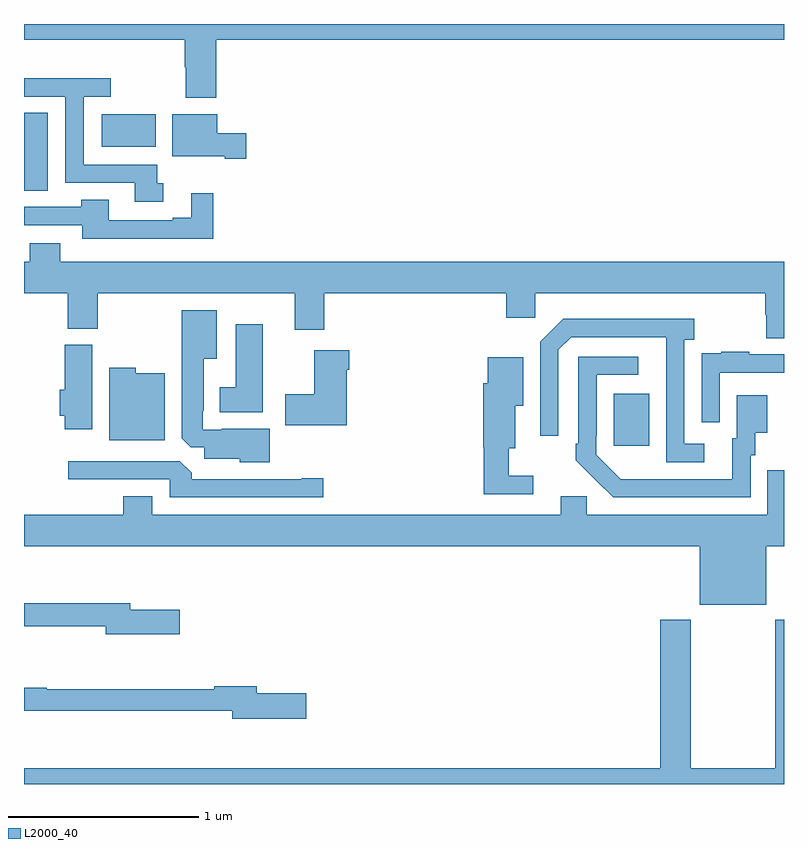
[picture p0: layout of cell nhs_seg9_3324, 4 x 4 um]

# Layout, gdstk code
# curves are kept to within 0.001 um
import gdstk
lib = gdstk.Library(unit=1e-6, precision=1e-09)
def R(c, l, rs):  # rectangles x0, y0, x1, y1
    for r in rs: c.add(gdstk.rectangle(r[:2], r[2:], *l))
def P(c, l, *ps):  # polygons
    for p in ps: c.add(gdstk.Polygon(p, *l))
L2000_40 = (2000, 40)

nhs_seg9_3324 = lib.new_cell('nhs_seg9_3324')
R(nhs_seg9_3324, L2000_40, [(304.103,1198.281,304.291,1198.555), (301,1199.623,301.126,1200.032), (301.409,1199.855,301.693,1200.025)])
P(nhs_seg9_3324, L2000_40, [(302.012,1200.416),(305,1200.416),(305,1200.5),(301,1200.5),(301,1200.416),(301.847,1200.416),(301.847,1200.272),(301.852,1200.272),(301.852,1200.111),(302.012,1200.111)],
  [(301.732,1199.663),(301.7,1199.663),(301.7,1199.76),(301.314,1199.76),(301.314,1200.117),(301.456,1200.117),(301.456,1200.215),(301,1200.215),(301,1200.117),(301.218,1200.117),(301.218,1199.664),(301.583,1199.664),(301.583,1199.565),(301.732,1199.565)],
  [(302.17,1199.926),(302.017,1199.926),(302.017,1200.025),(301.781,1200.025),(301.781,1199.804),(302.057,1199.804),(302.057,1199.792),(302.17,1199.792)],
  [(301.997,1199.608),(301.88,1199.608),(301.88,1199.479),(301.784,1199.479),(301.784,1199.466),(301.447,1199.466),(301.447,1199.575),(301.3,1199.575),(301.3,1199.538),(301,1199.538),(301,1199.442),(301.307,1199.442),(301.307,1199.37),(301.997,1199.37)],
  [(305,1199.248),(301.19,1199.248),(301.19,1199.347),(301.03,1199.347),(301.03,1199.248),(301,1199.248),(301,1199.084),(301.229,1199.084),(301.229,1198.897),(301.389,1198.897),(301.389,1199.084),(302.426,1199.084),(302.426,1198.89),(302.579,1198.89),(302.579,1199.084),(303.539,1199.084),(303.539,1198.953),(303.69,1198.953),(303.69,1199.084),(304.901,1199.084),(304.901,1198.971),(304.906,1198.971),(304.906,1198.846),(305,1198.846)],
  [(302.293,1198.369),(302.041,1198.369),(302.041,1198.365),(301.941,1198.365),(301.941,1198.465),(301.945,1198.465),(301.945,1198.739),(302.014,1198.739),(302.014,1198.993),(301.829,1198.993),(301.829,1198.321),(301.878,1198.272),(301.949,1198.272),(301.949,1198.211),(302.136,1198.211),(302.136,1198.193),(302.293,1198.193)],
  [(304.579,1198.29),(304.476,1198.29),(304.476,1198.838),(304.528,1198.838),(304.528,1198.948),(303.838,1198.948),(303.717,1198.827),(303.717,1198.332),(303.813,1198.332),(303.813,1198.785),(303.879,1198.851),(304.379,1198.851),(304.38,1198.194),(304.579,1198.194)],
  [(302.257,1198.921),(302.114,1198.921),(302.114,1198.588),(302.03,1198.588),(302.03,1198.457),(302.257,1198.457)],
  [(301.36,1198.812),(301.214,1198.812),(301.214,1198.574),(301.187,1198.574),(301.187,1198.439),(301.214,1198.439),(301.214,1198.368),(301.36,1198.368)],
  [(302.698,1198.679),(302.711,1198.679),(302.711,1198.783),(302.528,1198.783),(302.528,1198.551),(302.376,1198.551),(302.376,1198.388),(302.698,1198.388)],
  [(304.662,1198.665),(305,1198.665),(305,1198.761),(304.817,1198.761),(304.817,1198.774),(304.669,1198.774),(304.669,1198.767),(304.567,1198.767),(304.567,1198.658),(304.566,1198.658),(304.566,1198.404),(304.662,1198.404)],
  [(304.824,1198.23),(304.849,1198.23),(304.849,1198.349),(304.912,1198.349),(304.912,1198.546),(304.751,1198.546),(304.751,1198.32),(304.727,1198.32),(304.727,1198.104),(304.14,1198.105),(304.011,1198.233),(304.011,1198.333),(304.014,1198.333),(304.014,1198.653),(304.234,1198.653),(304.234,1198.749),(303.918,1198.749),(303.918,1198.291),(303.903,1198.291),(303.903,1198.203),(304.1,1198.008),(304.824,1198.008)],
  [(303.679,1198.123),(303.55,1198.123),(303.55,1198.268),(303.586,1198.268),(303.586,1198.49),(303.628,1198.49),(303.628,1198.747),(303.44,1198.747),(303.44,1198.608),(303.416,1198.608),(303.416,1198.272),(303.421,1198.272),(303.421,1198.026),(303.679,1198.026)],
  [(301.741,1198.663),(301.587,1198.663),(301.587,1198.69),(301.448,1198.69),(301.448,1198.31),(301.741,1198.31)],
  [(302.575,1198.109),(302.462,1198.109),(302.462,1198.104),(301.883,1198.104),(301.883,1198.138),(301.821,1198.2),(301.233,1198.2),(301.233,1198.104),(301.767,1198.104),(301.767,1198.008),(302.575,1198.008)],
  [(301.523,1198.015),(301.523,1197.916),(301,1197.916),(301,1197.752),(304.556,1197.752),(304.556,1197.443),(304.906,1197.443),(304.906,1197.752),(305,1197.752),(305,1198.152),(304.913,1198.152),(304.913,1197.916),(303.963,1197.916),(303.963,1198.014),(303.824,1198.014),(303.824,1197.916),(301.675,1197.916),(301.675,1198.015)],
  [(301.819,1197.417),(301.558,1197.417),(301.558,1197.451),(301,1197.451),(301,1197.33),(301.43,1197.33),(301.43,1197.287),(301.819,1197.287)],
  [(305,1197.364),(304.954,1197.364),(304.954,1196.584),(304.509,1196.584),(304.509,1197.364),(304.349,1197.364),(304.349,1196.584),(301,1196.584),(301,1196.5),(305,1196.5)],
  [(302.485,1196.978),(302.224,1196.978),(302.224,1197.014),(302,1197.014),(302,1196.999),(301.12,1196.999),(301.12,1197.007),(301,1197.007),(301,1196.886),(302.096,1196.886),(302.096,1196.843),(302.485,1196.843)])

lib.write_gds('nhs_seg9_3324.gds')
